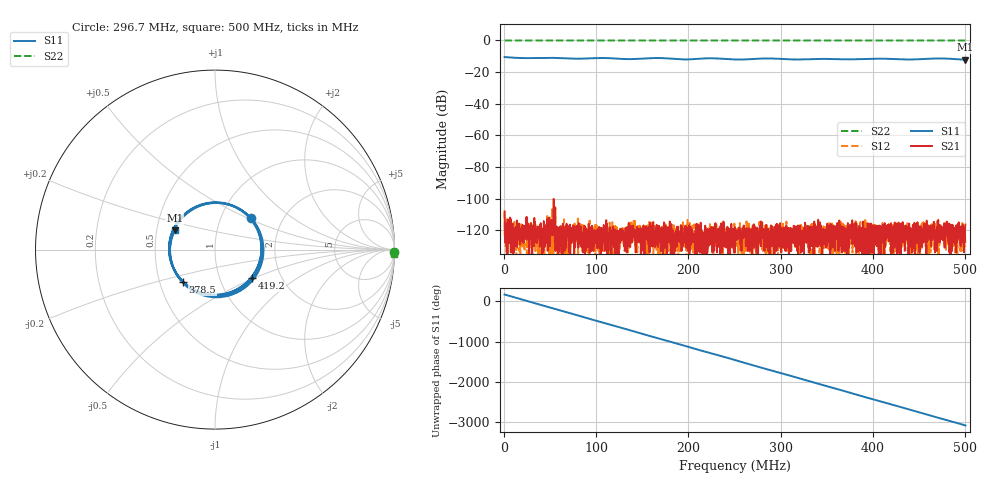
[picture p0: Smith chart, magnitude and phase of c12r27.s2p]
! MS46122B
! 1746301/73750021
! 11/3/2023 2:24:45 PM
! C:\USERS\SPEGWAL\DOWNLOADS\SAURABH\REACH\NODES\FRONT END\MEASUREMENTS\MEASURED S-PARAMETERS_03-11-2023\MS3-MS4_MS1_CABLE\27OHMS_SOURCE_S11.S2P
! CHANNEL.1
! TR.MEASUREMENT
! CORRECTED.DATA
# GHZ S RI R 50.0
! FREQ.GHZ  S11RE  S11IM  S21RE  S21IM  S12RE  S12IM  S22RE  S22IM
!; PortSelection: Port_12
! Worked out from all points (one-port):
!   2001 points, 1 MHz to 500 MHz, reference 50 ohm
!   lowest |S11| = -12.1 dB at 500 MHz (marker M1), VSWR 1.66, Z = 31.1 + j7.12 ohm
!   |S11| at or under -10 dB: start of sweep to end of sweep
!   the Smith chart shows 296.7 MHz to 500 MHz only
!   S11 on the Smith chart (normalised r, x): 296.7 MHz: 1.38, +0.52; 378.5 MHz: 0.66, -0.25; 419.2 MHz: 1.42, -0.49; 500 MHz: 0.62, +0.14
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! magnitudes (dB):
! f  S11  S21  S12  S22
! 1 MHz  -10.5  -108.0  -108.0  0.0
! 20.46 MHz  -11.1  -116.5  -128.0  0.0
! 49.4 MHz  -10.9  -128.9  -  0.0
! 84.33 MHz  -11.5  -130.5  -116.6  0.0
! 108.5 MHz  -11.1  -117.3  -130.5  0.0
! 137.5 MHz  -11.8  -117.1  -115.4  0.0
! 167.4 MHz  -11.1  -123.9  -119.0  0.0
! 194.4 MHz  -12.0  -128.0  -125.4  0.0
! 223.6 MHz  -11.3  -119.0  -122.8  0.0
! 250.5 MHz  -12.0  -117.9  -121.7  0.0
! 260.2 MHz  -12.0  -124.3  -123.9  0.0
! 282.4 MHz  -11.3  -133.0  -121.9  0.0
! 296.7 MHz  -11.5  -116.3  -124.7  0.0
! 315.6 MHz  -12.0  -130.5  -121.9  0.0
! 333.8 MHz  -11.8  -127.0  -124.7  0.0
! 347.8 MHz  -11.6  -125.9  -121.4  0.0
! 378.5 MHz  -11.9  -123.0  -120.0  0.0
! 416.9 MHz  -11.6  -116.1  -122.8  0.0
! 419.2 MHz  -11.6  -118.4  -121.9  0.0
! 440.4 MHz  -12.0  -127.0  -133.0  0.0
! 473.8 MHz  -11.3  -117.7  -124.7  0.0
! 500 MHz  -12.1  -116.3  -130.5  0.0
